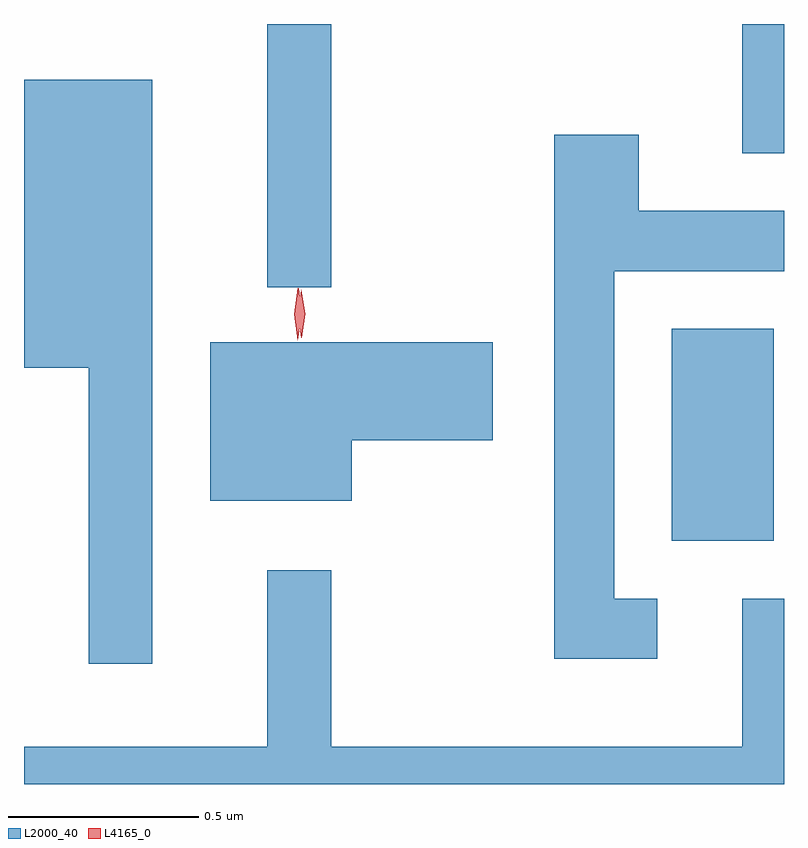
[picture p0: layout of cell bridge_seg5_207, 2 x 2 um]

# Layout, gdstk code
import gdstk
lib = gdstk.Library(unit=1e-6, precision=1e-09)
def R(c, l, rs):  # rectangles x0, y0, x1, y1
    for r in rs: c.add(gdstk.rectangle(r[:2], r[2:], *l))
def P(c, l, *ps):  # polygons
    for p in ps: c.add(gdstk.Polygon(p, *l))
L2000_40 = (2000, 40)
L4165_0 = (4165, 0)

bridge_seg5_207 = lib.new_cell('bridge_seg5_207')
R(bridge_seg5_207, L2000_40, [(1320.416,1406.546,1320.684,1407.104), (1319.351,1407.213,1319.519,1407.906), (1320.601,1407.566,1320.711,1407.906)])
P(bridge_seg5_207, L2000_40, [(1319.049,1407.759),(1318.711,1407.759),(1318.711,1407.001),(1318.881,1407.001),(1318.881,1406.223),(1319.049,1406.223)],
  [(1320.378,1406.394),(1320.264,1406.394),(1320.264,1407.256),(1320.711,1407.256),(1320.711,1407.414),(1320.329,1407.414),(1320.329,1407.614),(1320.106,1407.614),(1320.106,1406.236),(1320.378,1406.236)],
  [(1319.574,1406.811),(1319.944,1406.811),(1319.944,1407.069),(1319.201,1407.069),(1319.201,1406.651),(1319.574,1406.651)],
  [(1320.711,1406.394),(1320.601,1406.394),(1320.601,1406.004),(1319.519,1406.004),(1319.519,1406.468),(1319.351,1406.468),(1319.351,1406.004),(1318.711,1406.004),(1318.711,1405.906),(1320.711,1405.906)])
P(bridge_seg5_207, L4165_0, [(1319.441,1407.08),(1319.441,1407.08),(1319.431,1407.144),(1319.44,1407.206),(1319.441,1407.207),(1319.441,1407.206),(1319.451,1407.144),(1319.442,1407.08)],
  [(1319.431,1407.074),(1319.422,1407.142),(1319.432,1407.21),(1319.433,1407.21),(1319.434,1407.21),(1319.442,1407.142),(1319.432,1407.074),(1319.432,1407.074)])

lib.write_gds('bridge_seg5_207.gds')
